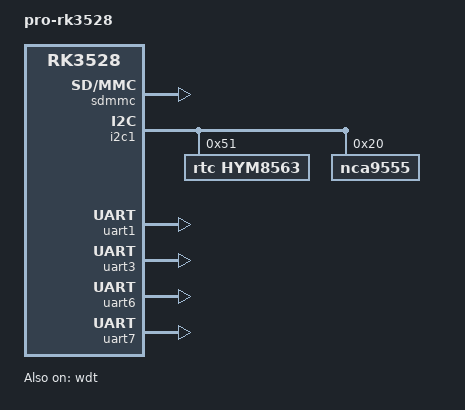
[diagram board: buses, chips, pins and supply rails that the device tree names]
// SPDX-License-Identifier: (GPL-2.0+ OR MIT)
/*
 * Copyright (c) 2022 Rockchip Electronics Co., Ltd.
 *
 */

#include <dt-bindings/gpio/nca9555-gpio.h>

#include "rk3528-evb1-rpdzkj-pwm-pwm.dtsi"
#include "rp-rk3528-ir.dtsi"
#include "rk3528-audio.dtsi"
//#include "../rk3528-android.dtsi"
#include "../rk3528-linux.dtsi"

#include "rp-usb-rk3528.dtsi"
#include "rp-adc-key.dtsi"

#include "rp-wifi-bt-vs2275s-rk3528.dtsi"

#include "rp-eth-gmac0-rmii.dtsi"
#include "rp-eth-gmac1-rgmii.dtsi"
#include "rp-eth-pcie2gmac-rk3528.dtsi"

#include "rp-lcd-hdmi.dtsi"
#include "rp-cvbs-out.dtsi"

/{
	model = "pro-rk3528";
        compatible = "rockchip,pro-rk3528", "rockchip,rk3528";
        
	chosen: chosen {
		bootargs = "earlycon=uart8250,mmio32,0xff9f0000 console=ttyFIQ0 root=PARTUUID=614e0000-0000 rw rootwait";
	};
	rp_power{
        status = "okay";
        compatible = "rp_power";
        rp_not_deep_sleep = <1>;
        

//#define GPIO_FUNCTION_OUTPUT 0
//#define GPIO_FUNCTION_INPUT 1
//#define GPIO_FUNCTION_IRQ 2
//#define GPIO_FUNCTION_FLASH 3
//#define GPIO_FUNCTION_OUTPUT_CTRL 4


        		pwr_5v {       //5v power en
                gpio_num = <&gpio0 RK_PA0 GPIO_ACTIVE_HIGH>;
                gpio_function = <4>;
        };
						
        led {    //system led
                gpio_num = <&nca9555_gpio IO_17 GPIO_ACTIVE_HIGH>;
                gpio_function = <3>;                
             };
        		usb_pwr {       //usb  power
                gpio_num = <&gpio4 RK_PB5 GPIO_ACTIVE_HIGH>;
                gpio_function = <4>;
        };
        hub_rst {    //usb hub
                gpio_num = <&gpio1 RK_PC3 GPIO_ACTIVE_LOW>;
                gpio_function = <4>;
        };
        otg_mode {       //OTG SWITCH
                gpio_num = <&gpio4 RK_PA5 GPIO_ACTIVE_LOW>;
                gpio_function = <4>;
        };
        otg_power {       //usb otg power
                gpio_num = <&gpio4 RK_PB3 GPIO_ACTIVE_HIGH>;
                gpio_function = <4>;
        };
        spk_en {       //spk enable
                gpio_num = <&gpio4 RK_PC1 GPIO_ACTIVE_HIGH>;
                gpio_function = <4>;
        };               
        gsm_pwr{    //4g power
                gpio_num = <&gpio0 RK_PA1 GPIO_ACTIVE_HIGH>;
                gpio_function = <4>;
        };
    };

    rp_gpio{
            status = "okay";
            compatible = "rp_gpio";

             nca9555_00 {
                    gpio_num = <&nca9555_gpio IO_00 GPIO_ACTIVE_HIGH>;
                    gpio_function = <0>;
            };
             nca9555_01 {
                    gpio_num = <&nca9555_gpio IO_01 GPIO_ACTIVE_HIGH>;
                    gpio_function = <0>;
            };
             nca9555_02 {
                    gpio_num = <&nca9555_gpio IO_02 GPIO_ACTIVE_HIGH>;
                    gpio_function = <0>;
            };
             nca9555_03 {
                    gpio_num = <&nca9555_gpio IO_03 GPIO_ACTIVE_HIGH>;
                    gpio_function = <0>;
            };
             nca9555_04 {
                    gpio_num = <&nca9555_gpio IO_04 GPIO_ACTIVE_HIGH>;
                    gpio_function = <0>;
            };
            nca9555_05 {
                    gpio_num = <&nca9555_gpio IO_05 GPIO_ACTIVE_HIGH>;
                    gpio_function = <0>;
            };

            nca9555_06 {
                    gpio_num = <&nca9555_gpio IO_06 GPIO_ACTIVE_HIGH>;
                    gpio_function = <0>;
            };
            nca9555_07 {
                    gpio_num = <&nca9555_gpio IO_07 GPIO_ACTIVE_HIGH>;
                    gpio_function = <0>;
            };
             nca9555_12 {
                    gpio_num = <&nca9555_gpio IO_12 GPIO_ACTIVE_HIGH>;
                    gpio_function = <0>;
            };
             nca9555_13 {
                    gpio_num = <&nca9555_gpio IO_13 GPIO_ACTIVE_HIGH>;
                    gpio_function = <0>;
            };
             nca9555_14 {
                    gpio_num = <&nca9555_gpio IO_14 GPIO_ACTIVE_HIGH>;
                    gpio_function = <0>;
            };
             nca9555_15 {
                    gpio_num = <&nca9555_gpio IO_15 GPIO_ACTIVE_HIGH>;
                    gpio_function = <0>;
            };
             nca9555_16 {
                    gpio_num = <&nca9555_gpio IO_16 GPIO_ACTIVE_HIGH>;
                    gpio_function = <0>;
            };
    };

	fiq-debugger {
        compatible = "rockchip,fiq-debugger";
        rockchip,serial-id = <0>;
        rockchip,wake-irq = <0>;
        /* If enable uart uses irq instead of fiq */
        rockchip,irq-mode-enable = <1>;
        rockchip,baudrate = <115200>;  /* Only 115200 and 1500000 */
        interrupts = <GIC_SPI 186 IRQ_TYPE_LEVEL_HIGH>;
        pinctrl-names = "default";
        pinctrl-0 = <&uart0m0_xfer>;
        status = "okay";
    };
};

&sdmmc {
	status = "okay";
};

&i2c1 {
    status = "okay";
    hym8563: rtc-hym8563@51 {
            status = "okay";
            compatible = "rtc,hym8563";
            reg = <0x51>;
    };
    nca9555: mfd-gpio@20 {
            compatible = "nca9555";
            reg = <0x20>;
            status = "okay";

            nca9555_gpio: gpio-normal@20 {
                    compatible = "nca9555-gpio";
                    gpio-controller;
                    #gpio-cells = <2>;
            };
    };
};

&uart1 {
    status = "okay";
    pinctrl-names = "default";
    pinctrl-0 = <&uart1m0_xfer>;
};

&uart3 {
    status = "okay";
    pinctrl-names = "default";
    pinctrl-0 = <&uart3m0_xfer>;
};

&uart6 {
    status = "okay";
    pinctrl-names = "default";
    pinctrl-0 = <&uart6m1_xfer>;
};

&uart7 {
    status = "okay";
    pinctrl-names = "default";
    pinctrl-0 = <&uart7m0_xfer>;
};

&wdt {
	status = "okay";
};
